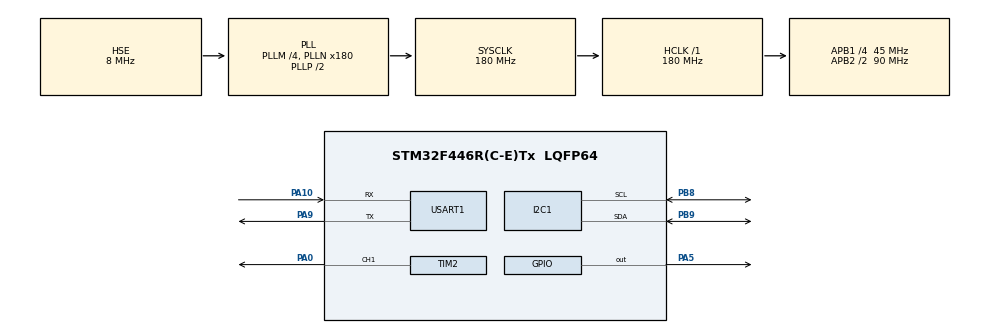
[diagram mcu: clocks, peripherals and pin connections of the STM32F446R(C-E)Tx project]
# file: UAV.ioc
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Dma.Request0=USART1_TX
Dma.Request1=USART1_RX
Dma.USART1_RX.1.Direction=DMA_PERIPH_TO_MEMORY
Dma.USART1_RX.1.FIFOMode=DMA_FIFOMODE_DISABLE
Dma.USART1_RX.1.Instance=DMA2_Stream2
Dma.USART1_RX.1.MemDataAlignment=DMA_MDATAALIGN_BYTE
Dma.USART1_RX.1.MemInc=DMA_MINC_ENABLE
Dma.USART1_RX.1.Mode=DMA_CIRCULAR
Dma.USART1_RX.1.PeriphDataAlignment=DMA_PDATAALIGN_BYTE
Dma.USART1_RX.1.PeriphInc=DMA_PINC_DISABLE
Dma.USART1_RX.1.Priority=DMA_PRIORITY_LOW
Dma.USART1_TX.0.Direction=DMA_MEMORY_TO_PERIPH
Dma.USART1_TX.0.FIFOMode=DMA_FIFOMODE_DISABLE
Dma.USART1_TX.0.Instance=DMA2_Stream7
Dma.USART1_TX.0.MemDataAlignment=DMA_MDATAALIGN_BYTE
Dma.USART1_TX.0.MemInc=DMA_MINC_ENABLE
Dma.USART1_TX.0.Mode=DMA_NORMAL
Dma.USART1_TX.0.PeriphDataAlignment=DMA_PDATAALIGN_BYTE
Dma.USART1_TX.0.PeriphInc=DMA_PINC_DISABLE
Dma.USART1_TX.0.Priority=DMA_PRIORITY_LOW
Mcu.Family=STM32F4
Mcu.Name=STM32F446R(C-E)Tx
Mcu.Package=LQFP64
NVIC.DMA2_Stream2_IRQn=true\:0\:0\:false\:false\:true\:false\:true\:true
NVIC.DMA2_Stream7_IRQn=true\:0\:0\:false\:false\:true\:false\:true\:true
NVIC.PriorityGroup=NVIC_PRIORITYGROUP_4
NVIC.USART1_IRQn=true\:0\:0\:false\:false\:true\:true\:true\:true
PA0-WKUP.Signal=S_TIM2_CH1_ETR
PA10.Mode=Asynchronous
PA10.Signal=USART1_RX
PA5.Signal=GPIO_Output
PA9.Mode=Asynchronous
PA9.Signal=USART1_TX
PB8.Mode=I2C
PB8.Signal=I2C1_SCL
PB9.Mode=I2C
PB9.Signal=I2C1_SDA
PH0-OSC_IN.Mode=HSE-External-Oscillator
PH0-OSC_IN.Signal=RCC_OSC_IN
PH1-OSC_OUT.Mode=HSE-External-Oscillator
PH1-OSC_OUT.Signal=RCC_OSC_OUT
ProjectManager.HeapSize=0x200
ProjectManager.StackSize=0x400
ProjectManager.TargetToolchain=STM32CubeIDE
RCC.AHBFreq_Value=180000000
RCC.APB1CLKDivider=RCC_HCLK_DIV4
RCC.APB1Freq_Value=45000000
RCC.APB1TimFreq_Value=90000000
RCC.APB2CLKDivider=RCC_HCLK_DIV2
RCC.APB2Freq_Value=90000000
RCC.APB2TimFreq_Value=180000000
RCC.CortexFreq_Value=180000000
RCC.HCLKFreq_Value=180000000
RCC.HSE_VALUE=8000000
RCC.PLLM=4
RCC.PLLN=180
RCC.PLLSourceVirtual=RCC_PLLSOURCE_HSE
RCC.SYSCLKFreq_VALUE=180000000
RCC.SYSCLKSource=RCC_SYSCLKSOURCE_PLLCLK
RCC.USBFreq_Value=180000000
RCC.VCOOutputFreq_Value=360000000
SH.S_TIM2_CH1_ETR.0=TIM2_CH1,PWM Generation1 CH1
TIM2.Channel-PWM\ Generation1\ CH1=TIM_CHANNEL_1
TIM2.Period=19999
TIM2.Prescaler=89
USART1.VirtualMode=VM_ASYNC
VP_TIM2_VS_ClockSourceINT.Mode=Internal
board=custom

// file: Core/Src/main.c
/* USER CODE BEGIN Header */
/**
  ********************************----------------------------------------------
  * @file           : main.c
  * @brief          : Main program body
  ********************************----------------------------------------------
  * @attention
  *
  * Copyright (c) 2026 STMicroelectronics.
  * All rights reserved.
  *
  * This software is licensed under terms that can be found in the LICENSE file
  * in the root directory of this software component.
  * If no LICENSE file comes with this software, it is provided AS-IS.
  *
  ********************************----------------------------------------------
  */
/* USER CODE END Header */
#include "main.h"

/* USER CODE BEGIN Includes */
#include <stdio.h>
#include <math.h>
#include <string.h>
#include "imu.h"
#include "complementary_filter.h"
#include <kalman_filter.h>
#include "telemetry.h"
/* USER CODE END Includes */

/* USER CODE BEGIN PD */
#define ESC_MIN_PULSE  1000
#define ESC_MAX_PULSE  2000
#define ESC_STOP_PULSE 1000
/* USER CODE END PD */

I2C_HandleTypeDef hi2c1;

TIM_HandleTypeDef htim2;

UART_HandleTypeDef huart1;
DMA_HandleTypeDef hdma_usart1_tx;
DMA_HandleTypeDef hdma_usart1_rx;

/* USER CODE BEGIN PV */
IMU_Data_t imu;
IMU_Diagnostics_t imu_diag;
//Attitude_t attitude; // For complementry filter
Kalman_State_t kalman_state;

uint32_t last_tick;
uint32_t telemetry_tick;
uint32_t esc_test_tick;
int test_state = 0;
/* USER CODE END PV */

void SystemClock_Config(void);
static void MX_GPIO_Init(void);
static void MX_DMA_Init(void);
static void MX_I2C1_Init(void);
static void MX_TIM2_Init(void);
static void MX_USART1_UART_Init(void);

int main(void)
{

  /* MCU Configuration--------------------------------------------------------*/

  /* Reset of all peripherals, Initializes the Flash interface and the Systick. */
  HAL_Init();

  /* Configure the system clock */
  SystemClock_Config();

  /* Initialize all configured peripherals */
  MX_GPIO_Init();
  MX_DMA_Init();
  MX_I2C1_Init();
  MX_TIM2_Init();
  MX_USART1_UART_Init();
  /* USER CODE BEGIN 2 */
  IMU_Init(&hi2c1);
//  IMU_CalibrateGyro();
  Telemetry_Init(&huart1);
  Telemetry_Start_Receive();
//  ComplementaryFilter_Init();
  Kalman_Init();

  HAL_TIM_PWM_Start(&htim2, TIM_CHANNEL_1);

  last_tick = HAL_GetTick();
  telemetry_tick = HAL_GetTick();
  esc_test_tick = HAL_GetTick();
  /* USER CODE END 2 */

  /* Infinite loop */
  /* USER CODE BEGIN WHILE */
  while (1)
  {
	  uint32_t now = HAL_GetTick();

	  if ((now - last_tick) >= 4)
	  {
		  float dt = (now - last_tick) / 1000.0f;
		  last_tick = now;
		  if (IMU_Read(&imu))
		  {
//			  ComplementaryFilter_Update(&imu, &attitude, dt);
			  Kalman_Update(&imu, &kalman_state, dt);
		  }
		  IMU_GetDiagnostics(&imu_diag);
	  }

	  // 2. Lower-frequency 50Hz (20ms) Telemetry Transmission Loop
	  if ((now - telemetry_tick) >= 20) {
	      telemetry_tick = now;

	      const FlightControl_t *cmd = Telemetry_Get_Control();

	      // Example: Apply throttle to PWM if armed
	      if (cmd->armed) {
	    	  __HAL_TIM_SET_COMPARE(&htim2, TIM_CHANNEL_1, cmd->throttle);
	    	  HAL_GPIO_WritePin(GPIOA, GPIO_PIN_5, GPIO_PIN_SET);
	      } else {
	    	  __HAL_TIM_SET_COMPARE(&htim2, TIM_CHANNEL_1, ESC_STOP_PULSE);
	    	  HAL_GPIO_WritePin(GPIOA, GPIO_PIN_5, GPIO_PIN_RESET);
	      }

	      Attitude_Data_t telemetry_packet = {
	          // Easily swap between kalman_state or complementary_state here:
	          .roll       = kalman_state.roll,       // or complementary_state.roll
	          .pitch      = kalman_state.pitch,      // or complementary_state.pitch
	          .yaw        = 0.0f,
	          .rollspeed  = imu.gx,
	          .pitchspeed = imu.gy,
	          .yawspeed   = imu.gz
	      };

	      Telemetry_Send_Attitude(&telemetry_packet);
	  }
//	  if ((now - esc_test_tick) >= 5000)
//	  {
//		  esc_test_tick = now;
//		  if (test_state == 0)
//		  {
//			  __HAL_TIM_SET_COMPARE(&htim2, TIM_CHANNEL_1, 1200);
//			  test_state = 1;
//		  }
//		  else
//		  {
//			  __HAL_TIM_SET_COMPARE(&htim2, TIM_CHANNEL_1, ESC_STOP_PULSE);
//			  test_state = 0;
//		  }
//	  }
    /* USER CODE END WHILE */

  }
}

void SystemClock_Config(void)
{
  RCC_OscInitTypeDef RCC_OscInitStruct = {0};
  RCC_ClkInitTypeDef RCC_ClkInitStruct = {0};

  /** Configure the main internal regulator output voltage
  */
  __HAL_RCC_PWR_CLK_ENABLE();
  __HAL_PWR_VOLTAGESCALING_CONFIG(PWR_REGULATOR_VOLTAGE_SCALE1);

  /** Initializes the RCC Oscillators according to the specified parameters
  * in the RCC_OscInitTypeDef structure.
  */
  RCC_OscInitStruct.OscillatorType = RCC_OSCILLATORTYPE_HSE;
  RCC_OscInitStruct.HSEState = RCC_HSE_ON;
  RCC_OscInitStruct.PLL.PLLState = RCC_PLL_ON;
  RCC_OscInitStruct.PLL.PLLSource = RCC_PLLSOURCE_HSE;
  RCC_OscInitStruct.PLL.PLLM = 4;
  RCC_OscInitStruct.PLL.PLLN = 180;
  RCC_OscInitStruct.PLL.PLLP = RCC_PLLP_DIV2;
  RCC_OscInitStruct.PLL.PLLQ = 2;
  RCC_OscInitStruct.PLL.PLLR = 2;
  if (HAL_RCC_OscConfig(&RCC_OscInitStruct) != HAL_OK)
  {
    Error_Handler();
  }

  /** Activate the Over-Drive mode
  */
  if (HAL_PWREx_EnableOverDrive() != HAL_OK)
  {
    Error_Handler();
  }

  /** Initializes the CPU, AHB and APB buses clocks
  */
  RCC_ClkInitStruct.ClockType = RCC_CLOCKTYPE_HCLK|RCC_CLOCKTYPE_SYSCLK
                              |RCC_CLOCKTYPE_PCLK1|RCC_CLOCKTYPE_PCLK2;
  RCC_ClkInitStruct.SYSCLKSource = RCC_SYSCLKSOURCE_PLLCLK;
  RCC_ClkInitStruct.AHBCLKDivider = RCC_SYSCLK_DIV1;
  RCC_ClkInitStruct.APB1CLKDivider = RCC_HCLK_DIV4;
  RCC_ClkInitStruct.APB2CLKDivider = RCC_HCLK_DIV2;

  if (HAL_RCC_ClockConfig(&RCC_ClkInitStruct, FLASH_LATENCY_5) != HAL_OK)
  {
    Error_Handler();
  }
}

static void MX_I2C1_Init(void)
{

  hi2c1.Instance = I2C1;
  hi2c1.Init.ClockSpeed = 100000;
  hi2c1.Init.DutyCycle = I2C_DUTYCYCLE_2;
  hi2c1.Init.OwnAddress1 = 0;
  hi2c1.Init.AddressingMode = I2C_ADDRESSINGMODE_7BIT;
  hi2c1.Init.DualAddressMode = I2C_DUALADDRESS_DISABLE;
  hi2c1.Init.OwnAddress2 = 0;
  hi2c1.Init.GeneralCallMode = I2C_GENERALCALL_DISABLE;
  hi2c1.Init.NoStretchMode = I2C_NOSTRETCH_DISABLE;
  if (HAL_I2C_Init(&hi2c1) != HAL_OK)
  {
    Error_Handler();
  }

}

static void MX_TIM2_Init(void)
{

  TIM_ClockConfigTypeDef sClockSourceConfig = {0};
  TIM_MasterConfigTypeDef sMasterConfig = {0};
  TIM_OC_InitTypeDef sConfigOC = {0};

  htim2.Instance = TIM2;
  htim2.Init.Prescaler = 89;
  htim2.Init.CounterMode = TIM_COUNTERMODE_UP;
  htim2.Init.Period = 19999;
  htim2.Init.ClockDivision = TIM_CLOCKDIVISION_DIV1;
  htim2.Init.AutoReloadPreload = TIM_AUTORELOAD_PRELOAD_DISABLE;
  if (HAL_TIM_Base_Init(&htim2) != HAL_OK)
  {
    Error_Handler();
  }
  sClockSourceConfig.ClockSource = TIM_CLOCKSOURCE_INTERNAL;
  if (HAL_TIM_ConfigClockSource(&htim2, &sClockSourceConfig) != HAL_OK)
  {
    Error_Handler();
  }
  if (HAL_TIM_PWM_Init(&htim2) != HAL_OK)
  {
    Error_Handler();
  }
  sMasterConfig.MasterOutputTrigger = TIM_TRGO_RESET;
  sMasterConfig.MasterSlaveMode = TIM_MASTERSLAVEMODE_DISABLE;
  if (HAL_TIMEx_MasterConfigSynchronization(&htim2, &sMasterConfig) != HAL_OK)
  {
    Error_Handler();
  }
  sConfigOC.OCMode = TIM_OCMODE_PWM1;
  sConfigOC.Pulse = 0;
  sConfigOC.OCPolarity = TIM_OCPOLARITY_HIGH;
  sConfigOC.OCFastMode = TIM_OCFAST_DISABLE;
  if (HAL_TIM_PWM_ConfigChannel(&htim2, &sConfigOC, TIM_CHANNEL_1) != HAL_OK)
  {
    Error_Handler();
  }
  HAL_TIM_MspPostInit(&htim2);

}

static void MX_USART1_UART_Init(void)
{

  huart1.Instance = USART1;
  huart1.Init.BaudRate = 115200;
  huart1.Init.WordLength = UART_WORDLENGTH_8B;
  huart1.Init.StopBits = UART_STOPBITS_1;
  huart1.Init.Parity = UART_PARITY_NONE;
  huart1.Init.Mode = UART_MODE_TX_RX;
  huart1.Init.HwFlowCtl = UART_HWCONTROL_NONE;
  huart1.Init.OverSampling = UART_OVERSAMPLING_16;
  if (HAL_UART_Init(&huart1) != HAL_OK)
  {
    Error_Handler();
  }

}

static void MX_DMA_Init(void)
{

  /* DMA controller clock enable */
  __HAL_RCC_DMA2_CLK_ENABLE();

  /* DMA interrupt init */
  /* DMA2_Stream2_IRQn interrupt configuration */
  HAL_NVIC_SetPriority(DMA2_Stream2_IRQn, 0, 0);
  HAL_NVIC_EnableIRQ(DMA2_Stream2_IRQn);
  /* DMA2_Stream7_IRQn interrupt configuration */
  HAL_NVIC_SetPriority(DMA2_Stream7_IRQn, 0, 0);
  HAL_NVIC_EnableIRQ(DMA2_Stream7_IRQn);

}

static void MX_GPIO_Init(void)
{
  GPIO_InitTypeDef GPIO_InitStruct = {0};

  /* GPIO Ports Clock Enable */
  __HAL_RCC_GPIOH_CLK_ENABLE();
  __HAL_RCC_GPIOA_CLK_ENABLE();
  __HAL_RCC_GPIOB_CLK_ENABLE();

  /*Configure GPIO pin Output Level */
  HAL_GPIO_WritePin(GPIOA, GPIO_PIN_5, GPIO_PIN_RESET);

  /*Configure GPIO pin : PA5 */
  GPIO_InitStruct.Pin = GPIO_PIN_5;
  GPIO_InitStruct.Mode = GPIO_MODE_OUTPUT_PP;
  GPIO_InitStruct.Pull = GPIO_NOPULL;
  GPIO_InitStruct.Speed = GPIO_SPEED_FREQ_LOW;
  HAL_GPIO_Init(GPIOA, &GPIO_InitStruct);

}

void Error_Handler(void)
{
  __disable_irq();
  while (1)
  {
  }
}
